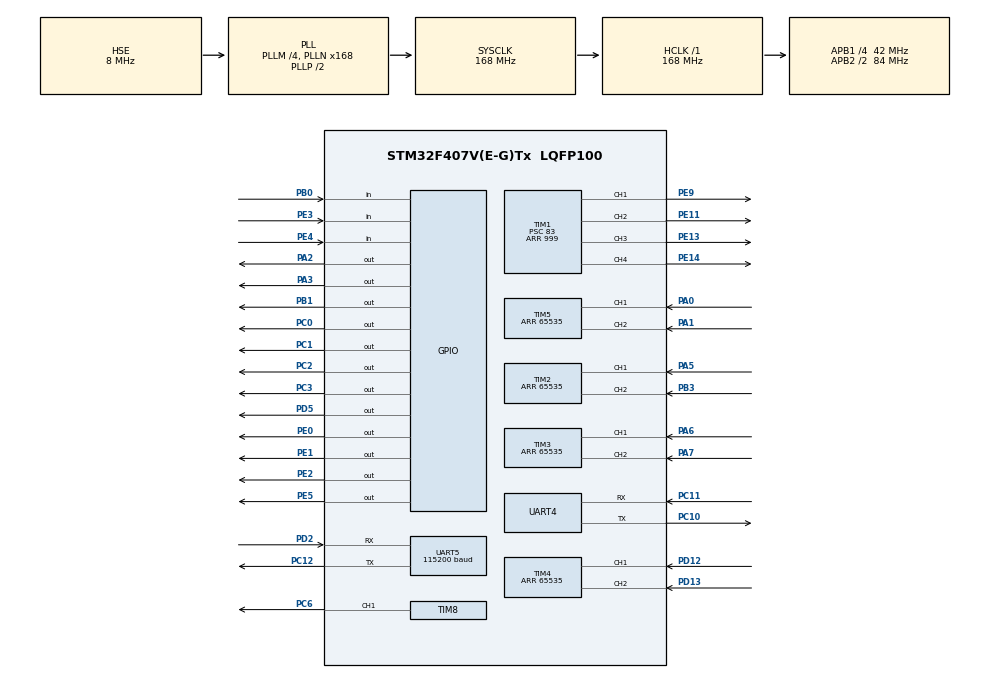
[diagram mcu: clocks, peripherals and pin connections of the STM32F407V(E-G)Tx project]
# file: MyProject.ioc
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FREERTOS.BinarySemaphores01=get_ball,Dynamic,NULL,Depleted;put_ball,Dynamic,NULL,Depleted
FREERTOS.Tasks01=Mode,24,128,Start_Mode,Default,NULL,Dynamic,NULL,NULL;PS2_Task,8,256,StartPS2_Task,Default,NULL,Dynamic,NULL,NULL;Find_Ball,8,512,Start_Find_Ball,Default,NULL,Dynamic,NULL,NULL;Push_ball,8,256,StartPush_ball,Default,NULL,Dynamic,NULL,NULL;Catch_ball,8,256,StartCatch_ball,Default,NULL,Dynamic,NULL,NULL;Find_Target_Loc,8,512,Start_Find_Target_Location,Default,NULL,Dynamic,NULL,NULL;test,8,256,Start_test,Default,NULL,Dynamic,NULL,NULL
FREERTOS.configTOTAL_HEAP_SIZE=15360
FREERTOS.configUSE_STATS_FORMATTING_FUNCTIONS=1
Mcu.Family=STM32F4
Mcu.Name=STM32F407V(E-G)Tx
Mcu.Package=LQFP100
NVIC.PriorityGroup=NVIC_PRIORITYGROUP_4
NVIC.TIM2_IRQn=true\:15\:0\:true\:false\:true\:true\:true\:true\:true
NVIC.TIM3_IRQn=true\:15\:0\:true\:false\:true\:true\:true\:true\:true
NVIC.TIM4_IRQn=true\:15\:0\:true\:false\:true\:true\:true\:true\:true
NVIC.TIM5_IRQn=true\:15\:0\:true\:false\:true\:true\:true\:true\:true
NVIC.TIM6_DAC_IRQn=true\:15\:0\:false\:false\:true\:false\:false\:true\:true
NVIC.TimeBase=TIM6_DAC_IRQn
NVIC.TimeBaseIP=TIM6
NVIC.UART4_IRQn=true\:15\:0\:true\:false\:true\:true\:true\:true\:true
NVIC.UART5_IRQn=true\:15\:0\:true\:false\:true\:true\:true\:true\:true
PA0-WKUP.Signal=S_TIM5_CH1
PA1.Signal=S_TIM5_CH2
PA13.Mode=Serial_Wire
PA13.Signal=SYS_JTMS-SWDIO
PA14.Mode=Serial_Wire
PA14.Signal=SYS_JTCK-SWCLK
PA2.GPIO_PuPd=GPIO_PULLUP
PA2.GPIO_Speed=GPIO_SPEED_FREQ_VERY_HIGH
PA2.Signal=GPIO_Output
PA3.GPIO_PuPd=GPIO_PULLUP
PA3.GPIO_Speed=GPIO_SPEED_FREQ_VERY_HIGH
PA3.Signal=GPIO_Output
PA5.Signal=S_TIM2_CH1_ETR
PA6.Signal=S_TIM3_CH1
PA7.Signal=S_TIM3_CH2
PB0.GPIO_PuPd=GPIO_PULLUP
PB0.Signal=GPIO_Input
PB1.GPIO_PuPd=GPIO_PULLUP
PB1.GPIO_Speed=GPIO_SPEED_FREQ_VERY_HIGH
PB1.Signal=GPIO_Output
PB3.Signal=S_TIM2_CH2
PC0.GPIO_Speed=GPIO_SPEED_FREQ_HIGH
PC0.Signal=GPIO_Output
PC1.GPIO_Speed=GPIO_SPEED_FREQ_HIGH
PC1.Signal=GPIO_Output
PC10.Mode=Asynchronous
PC10.Signal=UART4_TX
PC11.Mode=Asynchronous
PC11.Signal=UART4_RX
PC12.Mode=Asynchronous
PC12.Signal=UART5_TX
PC2.GPIO_Speed=GPIO_SPEED_FREQ_HIGH
PC2.Signal=GPIO_Output
PC3.GPIO_Speed=GPIO_SPEED_FREQ_HIGH
PC3.Signal=GPIO_Output
PC6.Signal=S_TIM8_CH1
PD12.Signal=S_TIM4_CH1
PD13.Signal=S_TIM4_CH2
PD2.Mode=Asynchronous
PD2.Signal=UART5_RX
PD5.GPIO_PuPd=GPIO_PULLDOWN
PD5.GPIO_Speed=GPIO_SPEED_FREQ_HIGH
PD5.Signal=GPIO_Output
PE0.GPIO_Speed=GPIO_SPEED_FREQ_HIGH
PE0.Signal=GPIO_Output
PE1.GPIO_Speed=GPIO_SPEED_FREQ_HIGH
PE1.Signal=GPIO_Output
PE11.Signal=S_TIM1_CH2
PE13.Signal=S_TIM1_CH3
PE14.Signal=S_TIM1_CH4
PE2.GPIO_Speed=GPIO_SPEED_FREQ_HIGH
PE2.Signal=GPIO_Output
PE3.GPIO_PuPd=GPIO_PULLUP
PE3.Signal=GPIO_Input
PE4.GPIO_PuPd=GPIO_PULLUP
PE4.Signal=GPIO_Input
PE5.GPIO_PuPd=GPIO_NOPULL
PE5.GPIO_Speed=GPIO_SPEED_FREQ_HIGH
PE5.PinState=GPIO_PIN_RESET
PE5.Signal=GPIO_Output
PE9.Signal=S_TIM1_CH1
PH0-OSC_IN.Mode=HSE-External-Oscillator
PH0-OSC_IN.Signal=RCC_OSC_IN
PH1-OSC_OUT.Mode=HSE-External-Oscillator
PH1-OSC_OUT.Signal=RCC_OSC_OUT
ProjectManager.HeapSize=0x200
ProjectManager.StackSize=0x400
ProjectManager.TargetToolchain=MDK-ARM V5.32
RCC.48MHZClocksFreq_Value=84000000
RCC.AHBFreq_Value=168000000
RCC.APB1CLKDivider=RCC_HCLK_DIV4
RCC.APB1Freq_Value=42000000
RCC.APB1TimFreq_Value=84000000
RCC.APB2CLKDivider=RCC_HCLK_DIV2
RCC.APB2Freq_Value=84000000
RCC.APB2TimFreq_Value=168000000
RCC.CortexFreq_Value=168000000
RCC.HCLKFreq_Value=168000000
RCC.HSE_VALUE=8000000
RCC.HSI_VALUE=16000000
RCC.LSE_VALUE=32768
RCC.PLLM=4
RCC.PLLN=168
RCC.PLLSourceVirtual=RCC_PLLSOURCE_HSE
RCC.SYSCLKFreq_VALUE=168000000
RCC.SYSCLKSource=RCC_SYSCLKSOURCE_PLLCLK
RCC.VCOOutputFreq_Value=336000000
SH.S_TIM1_CH1.0=TIM1_CH1,PWM Generation1 CH1
SH.S_TIM1_CH2.0=TIM1_CH2,PWM Generation2 CH2
SH.S_TIM1_CH3.0=TIM1_CH3,PWM Generation3 CH3
SH.S_TIM1_CH4.0=TIM1_CH4,PWM Generation4 CH4
SH.S_TIM2_CH1_ETR.0=TIM2_CH1,Encoder_Interface
SH.S_TIM2_CH2.0=TIM2_CH2,Encoder_Interface
SH.S_TIM3_CH1.0=TIM3_CH1,Encoder_Interface
SH.S_TIM3_CH2.0=TIM3_CH2,Encoder_Interface
SH.S_TIM4_CH1.0=TIM4_CH1,Encoder_Interface
SH.S_TIM4_CH2.0=TIM4_CH2,Encoder_Interface
SH.S_TIM5_CH1.0=TIM5_CH1,Encoder_Interface
SH.S_TIM5_CH2.0=TIM5_CH2,Encoder_Interface
SH.S_TIM8_CH1.0=TIM8_CH1,PWM Generation1 CH1
TIM1.AutoReloadPreload=TIM_AUTORELOAD_PRELOAD_ENABLE
TIM1.Channel-PWM\ Generation1\ CH1=TIM_CHANNEL_1
TIM1.Channel-PWM\ Generation2\ CH2=TIM_CHANNEL_2
TIM1.Channel-PWM\ Generation3\ CH3=TIM_CHANNEL_3
TIM1.Channel-PWM\ Generation4\ CH4=TIM_CHANNEL_4
TIM1.OCFastMode_PWM-PWM\ Generation1\ CH1=TIM_OCFAST_ENABLE
TIM1.OCFastMode_PWM-PWM\ Generation2\ CH2=TIM_OCFAST_ENABLE
TIM1.OCFastMode_PWM-PWM\ Generation3\ CH3=TIM_OCFAST_ENABLE
TIM1.OCFastMode_PWM-PWM\ Generation4\ CH4=TIM_OCFAST_ENABLE
TIM1.Period=999
TIM1.Prescaler=83
TIM1.Pulse-PWM\ Generation1\ CH1=200
TIM1.Pulse-PWM\ Generation2\ CH2=200
TIM1.Pulse-PWM\ Generation3\ CH3=200
TIM1.Pulse-PWM\ Generation4\ CH4=200
TIM2.AutoReloadPreload=TIM_AUTORELOAD_PRELOAD_DISABLE
TIM2.EncoderMode=TIM_ENCODERMODE_TI12
TIM2.IC1Filter=0
TIM2.IC2Filter=0
TIM2.Period=65535
TIM3.AutoReloadPreload=TIM_AUTORELOAD_PRELOAD_DISABLE
TIM3.EncoderMode=TIM_ENCODERMODE_TI12
TIM3.Period=65535
TIM4.AutoReloadPreload=TIM_AUTORELOAD_PRELOAD_DISABLE
TIM4.EncoderMode=TIM_ENCODERMODE_TI12
TIM4.Period=65535
TIM5.AutoReloadPreload=TIM_AUTORELOAD_PRELOAD_DISABLE
TIM5.EncoderMode=TIM_ENCODERMODE_TI12
TIM5.Period=65535
TIM8.AutoReloadPreload=TIM_AUTORELOAD_PRELOAD_ENABLE
TIM8.Channel-PWM\ Generation1\ CH1=TIM_CHANNEL_1
TIM8.OCFastMode_PWM-PWM\ Generation1\ CH1=TIM_OCFAST_ENABLE
TIM8.OCIdleState_1=TIM_OCIDLESTATE_RESET
TIM8.Period=999
TIM8.Prescaler=1679
UART4.VirtualMode=Asynchronous
UART5.BaudRate=115200
UART5.VirtualMode=Asynchronous
VP_FREERTOS_VS_CMSIS_V2.Mode=CMSIS_V2
VP_SYS_VS_tim6.Mode=TIM6
VP_TIM8_VS_ClockSourceINT.Mode=Internal
board=custom

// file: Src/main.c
/* USER CODE BEGIN Header */
/**
  ******************************************************************************
  * @file           : main.c
  * @brief          : Main program body
  ******************************************************************************
  * @attention
  *
  * Copyright (c) 2024 STMicroelectronics.
  * All rights reserved.
  *
  * This software is licensed under terms that can be found in the LICENSE file
  * in the root directory of this software component.
  * If no LICENSE file comes with this software, it is provided AS-IS.
  *
  ******************************************************************************
  */
/* USER CODE END Header */
#include "main.h"
#include "cmsis_os.h"
#include "tim.h"
#include "usart.h"
#include "gpio.h"

/* USER CODE BEGIN Includes */
extern uint8_t rx_buffer;
extern int PS2_LX,PS2_LY,PS2_RX,PS2_RY,PS2_KEY;
extern u8 PS2_ON_Flag;
//uint8_t data[] = {0xAA, 0xCC, 0x01, 0xBB};
/* USER CODE END Includes */

void SystemClock_Config(void);
void MX_FREERTOS_Init(void);

int main(void)
{

  /* MCU Configuration--------------------------------------------------------*/

  /* Reset of all peripherals, Initializes the Flash interface and the Systick. */
  HAL_Init();

  /* USER CODE BEGIN Init */
	delay_init(168);
  /* USER CODE END Init */

  /* Configure the system clock */
  SystemClock_Config();

  /* Initialize all configured peripherals */
  MX_GPIO_Init();
  MX_TIM1_Init();
  MX_TIM2_Init();
  MX_UART4_Init();
  MX_UART5_Init();
  MX_TIM3_Init();
  MX_TIM4_Init();
  MX_TIM5_Init();
  MX_TIM8_Init();
  /* USER CODE BEGIN 2 */
//	HAL_UART_Transmit(&huart4, data, sizeof(data), HAL_MAX_DELAY);
	PS2_SetInit();
	__HAL_TIM_SET_COMPARE(&htim8, TIM_CHANNEL_1,196);//
	HAL_Delay(2000);
	HAL_UART_Receive_IT(&huart4, &rx_buffer, 1);  // 开启中断接收

  /* USER CODE END 2 */

  /* Init scheduler */
  osKernelInitialize();

  /* Call init function for freertos objects (in cmsis_os2.c) */
  MX_FREERTOS_Init();

  /* Start scheduler */
  osKernelStart();

  /* We should never get here as control is now taken by the scheduler */

  /* Infinite loop */
  while (1)
  {

  }
}

void SystemClock_Config(void)
{
  RCC_OscInitTypeDef RCC_OscInitStruct = {0};
  RCC_ClkInitTypeDef RCC_ClkInitStruct = {0};

  /** Configure the main internal regulator output voltage
  */
  __HAL_RCC_PWR_CLK_ENABLE();
  __HAL_PWR_VOLTAGESCALING_CONFIG(PWR_REGULATOR_VOLTAGE_SCALE1);

  /** Initializes the RCC Oscillators according to the specified parameters
  * in the RCC_OscInitTypeDef structure.
  */
  RCC_OscInitStruct.OscillatorType = RCC_OSCILLATORTYPE_HSE;
  RCC_OscInitStruct.HSEState = RCC_HSE_ON;
  RCC_OscInitStruct.PLL.PLLState = RCC_PLL_ON;
  RCC_OscInitStruct.PLL.PLLSource = RCC_PLLSOURCE_HSE;
  RCC_OscInitStruct.PLL.PLLM = 4;
  RCC_OscInitStruct.PLL.PLLN = 168;
  RCC_OscInitStruct.PLL.PLLP = RCC_PLLP_DIV2;
  RCC_OscInitStruct.PLL.PLLQ = 4;
  if (HAL_RCC_OscConfig(&RCC_OscInitStruct) != HAL_OK)
  {
    Error_Handler();
  }

  /** Initializes the CPU, AHB and APB buses clocks
  */
  RCC_ClkInitStruct.ClockType = RCC_CLOCKTYPE_HCLK|RCC_CLOCKTYPE_SYSCLK
                              |RCC_CLOCKTYPE_PCLK1|RCC_CLOCKTYPE_PCLK2;
  RCC_ClkInitStruct.SYSCLKSource = RCC_SYSCLKSOURCE_PLLCLK;
  RCC_ClkInitStruct.AHBCLKDivider = RCC_SYSCLK_DIV1;
  RCC_ClkInitStruct.APB1CLKDivider = RCC_HCLK_DIV4;
  RCC_ClkInitStruct.APB2CLKDivider = RCC_HCLK_DIV2;

  if (HAL_RCC_ClockConfig(&RCC_ClkInitStruct, FLASH_LATENCY_5) != HAL_OK)
  {
    Error_Handler();
  }
}

void HAL_TIM_PeriodElapsedCallback(TIM_HandleTypeDef *htim)
{
  if (htim->Instance == TIM6) {
    HAL_IncTick();
  }
}

void Error_Handler(void)
{
  __disable_irq();
  while (1)
  {
  }
}

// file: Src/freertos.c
/* USER CODE BEGIN Header */
/**
  ******************************************************************************
  * File Name          : freertos.c
  * Description        : Code for freertos applications
  ******************************************************************************
  * @attention
  *
  * Copyright (c) 2024 STMicroelectronics.
  * All rights reserved.
  *
  * This software is licensed under terms that can be found in the LICENSE file
  * in the root directory of this software component.
  * If no LICENSE file comes with this software, it is provided AS-IS.
  *
  ******************************************************************************
  */
/* USER CODE END Header */

#include "FreeRTOS.h"
#include "task.h"
#include "main.h"
#include "cmsis_os.h"

/* USER CODE BEGIN Includes */
#include "usart.h"
/* USER CODE END Includes */

/* USER CODE BEGIN PTD */
extern int PS2_LX,PS2_LY,PS2_RX,PS2_RY,PS2_KEY;
extern u8 PS2_ON_Flag;
extern int16_t location_data[2];
extern Motor_parameter MOTOR_A, MOTOR_B, MOTOR_C, MOTOR_D;
uint8_t data[] = {0xAA ,0xCC ,0x03 ,0xBB};     // 0x00		走完一轮，进入新一轮找球
																							 // 0x01		确认抓到球且符合条件，开始找框
																							 // 0x02
uint8_t first_flag = 1;
uint8_t state_flag = 0;
uint16_t cnt = 0;
uint16_t cat = 0;
// 状态机状态
typedef enum {
    FIND_TARGET,
    FIND_BALL
} Running_State;

Running_State run_state = FIND_BALL;  // 初始状态

/* USER CODE END PTD */

/* USER CODE BEGIN PD */

u8 mode = 0;    //mode  1    Find_Ball_Red
								//mode  2		 Find_Ball_Blue
								//mode  3    Catch_Gall
								//mode  4    Find_Target_Location
								//mode  5    Push_Ball

/* USER CODE END PD */

/* Definitions for Mode */
osThreadId_t ModeHandle;
const osThreadAttr_t Mode_attributes = {
  .name = "Mode",
  .stack_size = 128 * 4,
  .priority = (osPriority_t) osPriorityNormal,
};
/* Definitions for PS2_Task */
osThreadId_t PS2_TaskHandle;
const osThreadAttr_t PS2_Task_attributes = {
  .name = "PS2_Task",
  .stack_size = 256 * 4,
  .priority = (osPriority_t) osPriorityLow,
};
/* Definitions for Find_Ball */
osThreadId_t Find_BallHandle;
const osThreadAttr_t Find_Ball_attributes = {
  .name = "Find_Ball",
  .stack_size = 512 * 4,
  .priority = (osPriority_t) osPriorityLow,
};
/* Definitions for Push_ball */
osThreadId_t Push_ballHandle;
const osThreadAttr_t Push_ball_attributes = {
  .name = "Push_ball",
  .stack_size = 256 * 4,
  .priority = (osPriority_t) osPriorityLow,
};
/* Definitions for Catch_ball */
osThreadId_t Catch_ballHandle;
const osThreadAttr_t Catch_ball_attributes = {
  .name = "Catch_ball",
  .stack_size = 256 * 4,
  .priority = (osPriority_t) osPriorityLow,
};
/* Definitions for Find_Target_Loc */
osThreadId_t Find_Target_LocHandle;
const osThreadAttr_t Find_Target_Loc_attributes = {
  .name = "Find_Target_Loc",
  .stack_size = 512 * 4,
  .priority = (osPriority_t) osPriorityLow,
};
/* Definitions for test */
osThreadId_t testHandle;
const osThreadAttr_t test_attributes = {
  .name = "test",
  .stack_size = 256 * 4,
  .priority = (osPriority_t) osPriorityLow,
};
/* Definitions for get_ball */
osSemaphoreId_t get_ballHandle;
const osSemaphoreAttr_t get_ball_attributes = {
  .name = "get_ball"
};
/* Definitions for put_ball */
osSemaphoreId_t put_ballHandle;
const osSemaphoreAttr_t put_ball_attributes = {
  .name = "put_ball"
};

void Start_Mode(void *argument);
void StartPS2_Task(void *argument);
void Start_Find_Ball(void *argument);
void StartPush_ball(void *argument);
void StartCatch_ball(void *argument);
void Start_Find_Target_Location(void *argument);
void Start_test(void *argument);

void MX_FREERTOS_Init(void); /* (MISRA C 2004 rule 8.1) */

void MX_FREERTOS_Init(void) {

  /* Create the semaphores(s) */
  /* creation of get_ball */
  get_ballHandle = osSemaphoreNew(1, 0, &get_ball_attributes);

  /* creation of put_ball */
  put_ballHandle = osSemaphoreNew(1, 0, &put_ball_attributes);

  /* Create the thread(s) */
  /* creation of Mode */
  ModeHandle = osThreadNew(Start_Mode, NULL, &Mode_attributes);

  /* creation of PS2_Task */
  PS2_TaskHandle = osThreadNew(StartPS2_Task, NULL, &PS2_Task_attributes);

  /* creation of Find_Ball */
  Find_BallHandle = osThreadNew(Start_Find_Ball, NULL, &Find_Ball_attributes);

  /* creation of Push_ball */
  Push_ballHandle = osThreadNew(StartPush_ball, NULL, &Push_ball_attributes);

  /* creation of Catch_ball */
  Catch_ballHandle = osThreadNew(StartCatch_ball, NULL, &Catch_ball_attributes);

  /* creation of Find_Target_Loc */
  Find_Target_LocHandle = osThreadNew(Start_Find_Target_Location, NULL, &Find_Target_Loc_attributes);

  /* creation of test */
  testHandle = osThreadNew(Start_test, NULL, &test_attributes);

}

void Start_Mode(void *argument)
{
  /* USER CODE BEGIN Start_Mode */
	u8 value = 0;
  /* Infinite loop */
  for(;;)
  {
			if(PS2_TaskHandle)	vTaskSuspend(PS2_TaskHandle);
			if(Find_BallHandle)	vTaskSuspend(Find_BallHandle);
			if(Push_ballHandle)	vTaskSuspend(Push_ballHandle);
			if(Catch_ballHandle)	vTaskSuspend(Catch_ballHandle);
			if(Find_Target_LocHandle)	vTaskSuspend(Find_Target_LocHandle);
			if(testHandle)	vTaskSuspend(testHandle);
			value = KEY_Scan(0);
			if(value)
			{
					if(value == KEY0_PRES)
							mode = 1;//Find_Ball_Red
					else if(value == KEY1_PRES)
							mode = 2;//Find_Ball_Blue
					if(PS2_TaskHandle)	vTaskResume(PS2_TaskHandle);
					if(Find_BallHandle)	vTaskResume(Find_BallHandle);
					if(Push_ballHandle)	vTaskResume(Push_ballHandle);
					if(Catch_ballHandle)	vTaskResume(Catch_ballHandle);
					if(testHandle)	vTaskResume(testHandle);

					delay_ms(500);
					Set_Pwm(450,450, 450, 450);
					delay_ms(700);
					Set_Pwm(200,200, 200, 200);
					delay_ms(200);

					vTaskDelete(ModeHandle);
					ModeHandle = NULL;
			}
			osDelay(1);
  }
  /* USER CODE END Start_Mode */
}

void StartPS2_Task(void *argument)
{
  /* USER CODE BEGIN StartPS2_Task */
  /* Infinite loop */
  for(;;)
  {
		PS2_Read();

		if (PS2_ON_Flag)
		{
				if(Find_BallHandle)	vTaskSuspend(Find_BallHandle);
				if(Push_ballHandle)	vTaskSuspend(Push_ballHandle);
				if(Catch_ballHandle)	vTaskSuspend(Catch_ballHandle);
				if(Find_Target_LocHandle)	vTaskSuspend(Find_Target_LocHandle);
				if(testHandle)	vTaskSuspend(testHandle);
				printf("PS2_LX%d   PS2_LY%d   PS2_RX%d   PS2_RY%d   PS2_KEY%d\r\n", PS2_LX, PS2_LY, PS2_RX, PS2_RY, PS2_KEY);
				if(PS2_KEY == 7)
				{
						Servo(1);
				}
				if(PS2_KEY == 5)
				{
						Servo(0);
				}
				if(PS2_KEY == 6)
				{
						Servo(2);
				}
				if(PS2_KEY == 8)
				{
						Servo(3);
				}
				if(PS2_LY == 128)
				{
						__HAL_TIM_SET_COMPARE(&htim1, TIM_CHANNEL_1,0);
						__HAL_TIM_SET_COMPARE(&htim1, TIM_CHANNEL_2,0);
				}
				if(PS2_RY == 128)
				{
						__HAL_TIM_SET_COMPARE(&htim1, TIM_CHANNEL_3,0);
						__HAL_TIM_SET_COMPARE(&htim1, TIM_CHANNEL_4,0);
				}
				if(PS2_LY < 128)
				{
						HAL_GPIO_WritePin(GPIOE, GPIO_PIN_2, GPIO_PIN_SET);
						HAL_GPIO_WritePin(GPIOC, GPIO_PIN_0, GPIO_PIN_RESET);
						__HAL_TIM_SET_COMPARE(&htim1, TIM_CHANNEL_1,350);

						HAL_GPIO_WritePin(GPIOE, GPIO_PIN_0, GPIO_PIN_SET);      //
						HAL_GPIO_WritePin(GPIOC, GPIO_PIN_1, GPIO_PIN_RESET);
						__HAL_TIM_SET_COMPARE(&htim1, TIM_CHANNEL_2,350);
				}
				if(PS2_LY > 128)
				{
						HAL_GPIO_WritePin(GPIOE, GPIO_PIN_2, GPIO_PIN_RESET);
						HAL_GPIO_WritePin(GPIOC, GPIO_PIN_0, GPIO_PIN_SET);
						__HAL_TIM_SET_COMPARE(&htim1, TIM_CHANNEL_1,350);

						HAL_GPIO_WritePin(GPIOE, GPIO_PIN_0, GPIO_PIN_RESET);    //
						HAL_GPIO_WritePin(GPIOC, GPIO_PIN_1, GPIO_PIN_SET);
						__HAL_TIM_SET_COMPARE(&htim1, TIM_CHANNEL_2,350);
				}

				if(PS2_RY < 128)
				{
						HAL_GPIO_WritePin(GPIOE, GPIO_PIN_1, GPIO_PIN_SET);      //
						HAL_GPIO_WritePin(GPIOC, GPIO_PIN_2, GPIO_PIN_RESET);
						__HAL_TIM_SET_COMPARE(&htim1, TIM_CHANNEL_3,350);

						HAL_GPIO_WritePin(GPIOE, GPIO_PIN_5, GPIO_PIN_SET);
						HAL_GPIO_WritePin(GPIOC, GPIO_PIN_3, GPIO_PIN_RESET);
						__HAL_TIM_SET_COMPARE(&htim1, TIM_CHANNEL_4,350);
				}
				if(PS2_RY > 128)
				{
						HAL_GPIO_WritePin(GPIOE, GPIO_PIN_1, GPIO_PIN_RESET);     //
						HAL_GPIO_WritePin(GPIOC, GPIO_PIN_2, GPIO_PIN_SET);
						__HAL_TIM_SET_COMPARE(&htim1, TIM_CHANNEL_3,350);

						HAL_GPIO_WritePin(GPIOE, GPIO_PIN_5, GPIO_PIN_RESET);
						HAL_GPIO_WritePin(GPIOC, GPIO_PIN_3, GPIO_PIN_SET);
						__HAL_TIM_SET_COMPARE(&htim1, TIM_CHANNEL_4,350);
				}
		}
    osDelay(1);
  }
  /* USER CODE END StartPS2_Task */
}

void Start_Find_Ball(void *argument)
{
  /* USER CODE BEGIN Start_Find_Ball */
	int16_t Last_location_data = 0;
  /* Infinite loop */
  for(;;)
  {
			Get_Motor_Speed();
			HAL_GPIO_WritePin(GPIOD, GPIO_PIN_5, GPIO_PIN_RESET);
			data[2] = 0x00;
			Servo(1);

			if(eTaskGetState(Find_Target_LocHandle) != eSuspended)
			{
					vTaskSuspend(Find_Target_LocHandle);
			}

			if((location_data[1] == 600) && (location_data[1] != Last_location_data))
			{
					Set_Pwm(0, 0, 0, 0);
					delay_ms(100);
					osSemaphoreRelease(get_ballHandle);
					location_data[0] = location_data[1] = 0;
			}
			Last_location_data = location_data[1];
			if(location_data[1] == 0)
			{
					location_data[0] = location_data[1] = 0;
					Set_Pwm(0, 0,  0, 0);
			}
			else if(location_data[1] == 900)
			{
					Empty(0);
			}

			if(location_data[1] < 400)
			{
					Drive_Motor();

					//速度闭环控制计算各电机PWM值，PWM代表车轮实际转速对应PWM值
					MOTOR_A.Motor_Pwm=Incremental_PI_A(MOTOR_A.Encoder, MOTOR_A.Target);
					MOTOR_B.Motor_Pwm=Incremental_PI_B(MOTOR_B.Encoder, MOTOR_B.Target);
					MOTOR_C.Motor_Pwm=Incremental_PI_C(MOTOR_C.Encoder, MOTOR_C.Target);
					MOTOR_D.Motor_Pwm=Incremental_PI_D(MOTOR_D.Encoder, MOTOR_D.Target);

					Limit_Pwm(300);

					Set_Pwm(MOTOR_A.Motor_Pwm, MOTOR_B.Motor_Pwm,  MOTOR_C.Motor_Pwm, MOTOR_D.Motor_Pwm);
			}
			osDelay(1);
  }
  /* USER CODE END Start_Find_Ball */
}

void StartPush_ball(void *argument)
{
  /* USER CODE BEGIN StartPush_ball */
  /* Infinite loop */
  for(;;)
  {
			osSemaphoreAcquire(put_ballHandle,portMAX_DELAY);
			if(Find_Target_LocHandle)	vTaskSuspend(Find_Target_LocHandle);

			Set_Pwm(0, 0, 0, 0);
			delay_ms(1000);
			Servo(0);
			delay_ms(100);
			Set_Pwm(-300,-300, -300, -300);
			delay_ms(400);
			Set_Pwm(0, 0, 0, 0);
			delay_ms(500);
			Set_Pwm(600,600, 600, 600);
			delay_ms(600);
			Set_Pwm(0, 0, 0, 0);
			delay_ms(100);
			Servo(2);
			Set_Pwm(0, 0, 0, 0);
			delay_ms(500);
			Set_Pwm(-300, -300, -300, -300);
			delay_ms(400);

			Set_Pwm(400, 400, -400, -400);
			delay_ms(1000);
			Set_Pwm(0, 0, 0, 0);
			Servo(1);

			data[2] = 0x00;

			Set_Pwm(0, 0, 0, 0);

			if(Find_BallHandle)	vTaskResume(Find_BallHandle);

			osDelay(1);
  }
  /* USER CODE END StartPush_ball */
}

void StartCatch_ball(void *argument)
{
  /* USER CODE BEGIN StartCatch_ball */
	u8 defeat = 0;
	u8 i = 0;
  /* Infinite loop */
  for(;;)
  {
			osSemaphoreAcquire(get_ballHandle,portMAX_DELAY);
			if(Find_BallHandle)	vTaskSuspend(Find_BallHandle);

			Set_Pwm(0, 0, 0, 0);
			Servo(0);
			Set_Pwm(0, 0, 0, 0);
			delay_ms(500);

			while(location_data[0] != 800)
			{
					if(location_data[0] == 750)
					{
							defeat = 1;
							break;
					}
					if(location_data[0] == 700)
					{
							Set_Pwm(-300, -300, -300, -300 );
							delay_ms(700);
							defeat = 1;
							break;
					}
					Set_Pwm(125, 125, 125, 125 );
			}
			Set_Pwm(0, 0, 0, 0);
			Servo(1);
			delay_ms(200);
			HAL_GPIO_WritePin(GPIOD, GPIO_PIN_5, GPIO_PIN_RESET);
			while(1)
			{
					//delay_ms(20);

					HAL_GPIO_WritePin(GPIOD, GPIO_PIN_5, GPIO_PIN_SET);

					if(location_data[0] == 850)
					{
							//HAL_GPIO_WritePin(GPIOD, GPIO_PIN_5, GPIO_PIN_SET);
							//delay_ms(100);
							if(location_data[0] == 850)
							{
									break;
							}
							else if(location_data[0] == 860)
							{
									defeat = 1;
									Servo(0);
									delay_ms(500);
									Set_Pwm(300,300, 300, 300);
									delay_ms(400);
									Set_Pwm(-300, -300, -300, -300 );
									delay_ms(1000);
									Set_Pwm(300, 300, -300, -300 );
									delay_ms(500);
									Set_Pwm(0, 0, 0, 0 );
									Servo(1);
									break;
							}
					}
					else if(location_data[0] == 860)
					{
							//HAL_GPIO_WritePin(GPIOD, GPIO_PIN_5, GPIO_PIN_SET);
							if(location_data[0] == 850)
							{
									break;
							}
							else if(location_data[0] == 860)
							{
									defeat = 1;
									Servo(0);
									delay_ms(500);
									Set_Pwm(300,300, 300, 300);
									delay_ms(400);
									Set_Pwm(-300, -300, -300, -300 );
									delay_ms(1000);
									Set_Pwm(300, 300, -300, -300 );
									delay_ms(500);
									Set_Pwm(0, 0, 0, 0 );
									Servo(1);
									break;
							}
					}
					if(location_data[0] == 750)
					{
							defeat = 1;
							break;
					}
//					if(location_data[0] == 900)
//					{
//							cat++;
//							if(cat == 30000)
//							{
//									cat = 0;
//									break;
//							}
//					}
			}
			cat = 0;
				HAL_GPIO_WritePin(GPIOD, GPIO_PIN_5, GPIO_PIN_RESET);
			Set_Pwm(-200,-200, -200, -200);
			delay_ms(300);
			Set_Pwm(200,200, 200, 200);
			delay_ms(300);

			Set_Pwm(0, 0, 0, 0);
			delay_ms(100);

			for(i = 0;i<10;i++)
			{
					data[2] = 0x04;
					HAL_UART_Transmit_IT(&huart4, data, sizeof(data));
			}

			if(defeat)
			{
					defeat = 0;
					if(Find_BallHandle)	vTaskResume(Find_BallHandle);
			}
			else
			{
					data[2] = 0x01;
					//HAL_UART_Transmit_IT(&huart4, data, sizeof(data));

					if(Find_Target_LocHandle)	vTaskResume(Find_Target_LocHandle);
			}
			osDelay(1);
  }
  /* USER CODE END StartCatch_ball */
}

void Start_Find_Target_Location(void *argument)
{
  /* USER CODE BEGIN Start_Find_Target_Location */
  /* Infinite loop */
  for(;;)
  {
			Get_Motor_Speed();

			data[2] = 0x01;
			Servo(1);
			state_flag = 0;

			if(eTaskGetState(Find_BallHandle) != eSuspended)
			{
					vTaskSuspend(Find_BallHandle);
			}

			if(location_data[1] == 650)
			{
					Set_Pwm(0, 0, 0, 0);
					state_flag = 1;
					osSemaphoreRelease(put_ballHandle);
					location_data[0] = location_data[1] = 0;
			}
			else if(location_data[1] == 0)
			{
					location_data[0] = location_data[1] = 0;
					Set_Pwm(0, 0,  0, 0);
			}
			else if(location_data[1] == 900)
			{
					cnt++;
					if(cnt == 60)
					{
							cnt = 0;
							Empty(1);
					}
			}

			if(location_data[1] < 400)
			{
					cnt = 0;
					if(location_data[1] > 80)
					{
							location_data[1] = 100;
					}
					else
					{
							location_data[1] = 80;
					}

					Drive_Motor();

					//速度闭环控制计算各电机PWM值，PWM代表车轮实际转速对应PWM值
					MOTOR_A.Motor_Pwm=Incremental_PI_A(MOTOR_A.Encoder, MOTOR_A.Target);
					MOTOR_B.Motor_Pwm=Incremental_PI_B(MOTOR_B.Encoder, MOTOR_B.Target);
					MOTOR_C.Motor_Pwm=Incremental_PI_C(MOTOR_C.Encoder, MOTOR_C.Target);
					MOTOR_D.Motor_Pwm=Incremental_PI_D(MOTOR_D.Encoder, MOTOR_D.Target);

					Limit_Pwm(300);

					Set_Pwm(MOTOR_A.Motor_Pwm, MOTOR_B.Motor_Pwm,  MOTOR_C.Motor_Pwm, MOTOR_D.Motor_Pwm);
			}
			osDelay(1);
  }
  /* USER CODE END Start_Find_Target_Location */
}

void Start_test(void *argument)
{
  /* USER CODE BEGIN Start_test */
	//int16_t Last_location_data = 0;

  /* Infinite loop */
  while(1)
  {
			if(eTaskGetState(Find_BallHandle) != eSuspended)
			{
					HAL_UART_Transmit_IT(&huart4, data, sizeof(data));
					delay_ms(10);
			}
			if(eTaskGetState(Find_Target_LocHandle) != eSuspended)
			{
					HAL_UART_Transmit_IT(&huart4, data, sizeof(data));
					delay_ms(10);
			}

//			switch(run_state)
//			{
//				case FIND_BALL:
//						if(location_data[1] == 500)
//						{
//								run_state = FIND_BALL;
//								//HAL_UART_Transmit_IT(&huart4, data, sizeof(data));
//						}
//						else if(location_data[1] == 550)
//						{
//								run_state = FIND_TARGET;
//								break;
//						}
//
//						if((location_data[1] != 500) && (location_data[1] != 550))
//						{
//								Get_Motor_Speed();
//
//								if((location_data[1] == 600) && (location_data[1] != Last_location_data))
//								{
//										Set_Pwm(0, 0, 0, 0);
//										delay_ms(100);

//
//										Set_Pwm(0, 0, 0, 0);
//										Servo(0);
//										Set_Pwm(0, 0, 0, 0);
//										delay_ms(500);
//										while(location_data[0] != 800)
//										{
//												if(location_data[0] == 700)
//												{
//														Set_Pwm(-200, -200, -200, -200 );
//														delay_ms(500);
//														break;
//												}
//												Set_Pwm(125, 125, 125, 125 );
//										}
//										Set_Pwm(0, 0, 0, 0);
//										Servo(1);
//										delay_ms(500);
//										Set_Pwm(-200,-200, -200, -200);
//										delay_ms(300);
//										Set_Pwm(200,200, 200, 200);
//										delay_ms(300);
//										Set_Pwm(0, 0, 0, 0);
//										delay_ms(500);
//
//
//										run_state = FIND_TARGET;
//										location_data[0] = location_data[1] = 0;
//								}
//								Last_location_data = location_data[1];
//								if(location_data[1] == 0)
//								{
//										Set_Pwm(0, 0,  0, 0);
//								}
//								if(location_data[1] == 900)
//								{
//										Empty(0);
//								}
//
//								else
//								{
//										Drive_Motor();
//
//										//速度闭环控制计算各电机PWM值，PWM代表车轮实际转速对应PWM值
//										MOTOR_A.Motor_Pwm=Incremental_PI_A(MOTOR_A.Encoder, MOTOR_A.Target);
//										MOTOR_B.Motor_Pwm=Incremental_PI_B(MOTOR_B.Encoder, MOTOR_B.Target);
//										MOTOR_C.Motor_Pwm=Incremental_PI_C(MOTOR_C.Encoder, MOTOR_C.Target);
//										MOTOR_D.Motor_Pwm=Incremental_PI_D(MOTOR_D.Encoder, MOTOR_D.Target);
//
//										Limit_Pwm(300);
//
//										Set_Pwm(MOTOR_A.Motor_Pwm, MOTOR_B.Motor_Pwm,  MOTOR_C.Motor_Pwm, MOTOR_D.Motor_Pwm);
//								}
//						}
//				break;
//				case FIND_TARGET:
//						if(location_data[1] == 500)
//						{
//								run_state = FIND_BALL;
//								//HAL_UART_Transmit_IT(&huart4, data, sizeof(data));
//								break;
//						}
//						else if(location_data[1] == 550)
//						{
//								run_state = FIND_TARGET;
//						}
//
//						if((location_data[1] != 500) && (location_data[1] != 550))
//						{
//								Get_Motor_Speed();
//
//								if(location_data[1] == 650)
//								{
//										Set_Pwm(0, 0, 0, 0);
//
//
//										Set_Pwm(0, 0, 0, 0);
//										delay_ms(100);
//										Set_Pwm(-100,-100, -100, -100);
//										delay_ms(600);
//										Set_Pwm(0, 0, 0, 0);
//										delay_ms(500);
//										Set_Pwm(350,350, 350, 350);
//										delay_ms(400);
//										Set_Pwm(0, 0, 0, 0);
//										delay_ms(100);
//										Servo(2);
//										Set_Pwm(0, 0, 0, 0);
//										delay_ms(500);
//										Set_Pwm(-300, -300, -300, -300);
//										delay_ms(400);
//										Servo(1);
//										Set_Pwm(400, 400, -400, -400);
//										delay_ms(1000);
//										Set_Pwm(0, 0, 0, 0);
//
//
//										HAL_UART_Transmit_IT(&huart4, data, sizeof(data));
//										delay_ms(500);
//										Set_Pwm(0, 0, 0, 0);
//
//
//										run_state = FIND_BALL;
//										location_data[0] = location_data[1] = 0;
//								}
//								if(location_data[1] == 0)
//								{
//										Set_Pwm(0, 0,  0, 0);
//								}
//								if(location_data[1] == 900)
//								{
//										Empty(1);
//								}
//
//								else
//								{
//										location_data[1] = 80;
//										Drive_Motor();
//
//										//速度闭环控制计算各电机PWM值，PWM代表车轮实际转速对应PWM值
//										MOTOR_A.Motor_Pwm=Incremental_PI_A(MOTOR_A.Encoder, MOTOR_A.Target);
//										MOTOR_B.Motor_Pwm=Incremental_PI_B(MOTOR_B.Encoder, MOTOR_B.Target);
//										MOTOR_C.Motor_Pwm=Incremental_PI_C(MOTOR_C.Encoder, MOTOR_C.Target);
//										MOTOR_D.Motor_Pwm=Incremental_PI_D(MOTOR_D.Encoder, MOTOR_D.Target);
//
//										Limit_Pwm(300);
//
//										Set_Pwm(MOTOR_A.Motor_Pwm, MOTOR_B.Motor_Pwm,  MOTOR_C.Motor_Pwm, MOTOR_D.Motor_Pwm);
//								}
//						}
//				break;
//			}
			osDelay(1);
  }
  /* USER CODE END Start_test */
}
